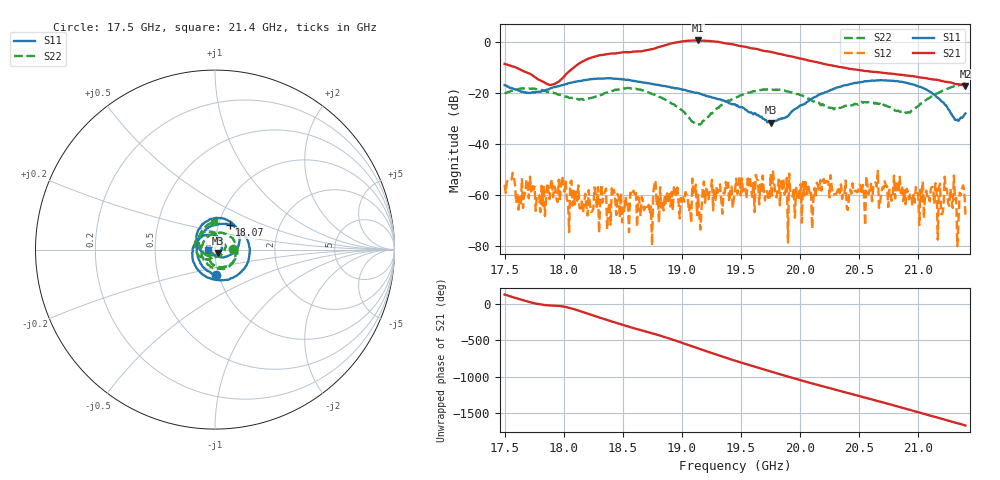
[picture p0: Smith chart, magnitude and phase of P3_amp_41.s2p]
!Created with skrf (http://scikit-rf.org).
# GHz S RI R 50.0
!freq ReS11 ImS11 ReS21 ImS21 ReS12 ImS12 ReS22 ImS22
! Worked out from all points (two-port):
!   401 points, 17.5 GHz to 21.4 GHz, reference 50 ohm
!   highest |S21| = 0.69 dB at 19.14 GHz (marker M1); lowest = -17.1 dB at 21.4 GHz (marker M2)
!   |S21| within 3 dB of the highest: 18.78 GHz to 19.58 GHz (800.8 MHz wide, 4.18 % of centre)
!   lowest |S11| = -31.5 dB at 19.75 GHz (marker M3), VSWR 1.05, Z = 51.8 - j2.02 ohm
!   |S11| at or under -10 dB: start of sweep to end of sweep
!   |S22| runs from -32.3 to -16.3 dB; largest |S21 - S12| = 1.1
!   S11 on the Smith chart (normalised r, x): 17.5 GHz: 0.98, -0.29; 18.07 GHz: 1.13, +0.32; 21.4 GHz: 0.92, -0.00
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17.5  0.00835 -0.1437  -0.2226 0.3023  -0.000936 0.00129  0.0982 0.00139
17.88025  -0.0514 0.1102  0.1337 -0.0549  0.000735 0.000392  0.00346 -0.1044
18.0655  0.082 0.1386  0.1295 -0.2629  0.00174 -0.000839  -0.0727 -0.037
18.15325  0.1411 0.1047  -0.1216 -0.393  0.00074 -0.000112  -0.0745 0.0196
18.30925  0.1934 -0.0143  -0.5486 0.1105  0.000687 -0.000211  0.00299 0.091
18.48475  0.1215 -0.1456  0.1113 0.616  0.000773 -0.000794  0.1192 0.0261
18.6505  -0.0128 -0.1656  0.6628 0.00452  -0.000188 -0.000333  0.0748 -0.091
18.8065  -0.1052 -0.0982  0.2642 -0.7627  0.000266 -0.000116  -0.00885 -0.0843
18.904  -0.1255 -0.035  -0.4765 -0.8074  -0.000201 -0.000564  -0.0322 -0.0569
19.0015  -0.1157 0.0263  -1.033 -0.1045  -0.000187 -0.000645  -0.0338 -0.0319
19.138  -0.0624 0.0784  -0.3615 1.021  -0.000894 0.00049  -0.0146 -0.0194
19.30375  0.00396 0.0764  0.9647 0.3299  0.000219 0.0011  -0.0202 -0.0477
19.45  0.035 0.0494  0.4692 -0.7562  0.00119 -0.000317  -0.065 -0.0493
19.61575  0.0401 0.00742  -0.5743 -0.4796  0.000426 -0.00018  -0.1095 0.00226
19.75225  0.0182 -0.0194  -0.5801 0.2905  0.00164 -0.00205  -0.0961 0.0663
19.8985  -0.0166 -0.0317  0.0549 0.5385  -0.000115 2.53e-05  -0.0427 0.0987
20.10325  -0.0785 -0.00677  0.4167 -0.0708  7.23e-05 0.000206  0.0132 0.0695
20.2105  -0.0992 0.0312  0.2 -0.3124  -0.00122 -0.00095  0.0159 0.0552
20.45425  -0.0691 0.1401  -0.2792 -0.0901  -0.000283 0.00112  0.0195 0.0561
20.7565  0.0853 0.1562  0.0956 0.2245  0.000768 0.00103  0.0533 -0.00428
21.0685  0.1188 -0.00158  0.0549 -0.1891  0.000958 -0.000764  -0.0732 -0.00594
21.4  -0.0399 -0.000328  -0.1004 0.0963  -9.85e-05 -0.000402  -0.00758 0.1536
